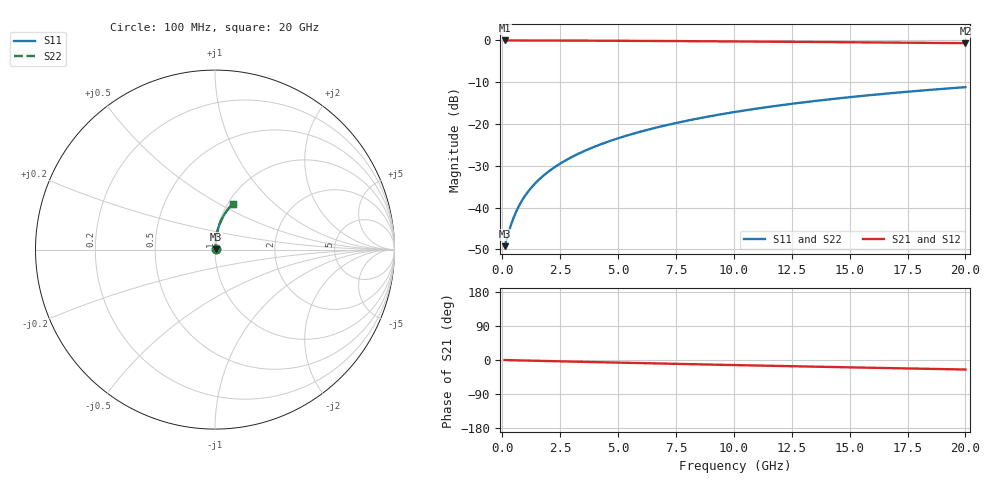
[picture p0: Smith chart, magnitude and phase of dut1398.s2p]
! Touchstone file exported from HFSS 2024.1.0
!  File:  C:/UserFiles/LocalFiles/RDL_TSV_Batchsim/temp_RDL_top_1398_1780368013.aedt
!  Generated:  10:42:26 AM Jun  2, 2026
!  Design:  RDL_top
!  Project:  temp_RDL_top_1398_1780368013
!  Setup:  Setup1
!  Solution:  Sweep
! Variables:
!  dtsv = 10.80580581um
!  hbump = 3um
!  htsv = 84.27um
!  ldown = 100um
!  lrdl = 319.88um
!  p = 40
!  p1 = 43um
!  rhole = 1um
!  t = 450um
!  tdown = 3.915915916um
!  trdl = 2.28um
!  wdown = 15.38538539um
!  wrdl = 17.43um
# GHz S MA R 50.000000
! Terminal data exported
! Port[1] = Box2_T1
! Port[2] = Box2_T2
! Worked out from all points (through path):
!   200 points, 100 MHz to 20 GHz, reference 50 ohm
!   highest |S21| = -0.03 dB at 100 MHz (marker M1); lowest = -0.7 dB at 20 GHz (marker M2)
!   group delay of S21, straight-line fit = 3.48 ps
!   lowest |S11| = -49.2 dB at 100 MHz (marker M3), VSWR 1.01, Z = 50.3 + j0.144 ohm
!   |S11| at or under -10 dB: start of sweep to end of sweep
!   |S22| runs from -49.2 to -11.2 dB; largest |S21 - S12| = 2.6e-15
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0.1  0.003452 24.5  0.9969 -0.1  0.9969 -0.1  0.003452 24.5
! Gamma 0 0 0 0
! Port Impedance 50 0 50 0
0.3  0.005332 52.2  0.9967 -0.4  0.9967 -0.4  0.005333 52.2
0.4  0.006492 59.1  0.9966 -0.6  0.9966 -0.6  0.006493 59.1
0.6  0.00895 67.2  0.9964 -0.9  0.9964 -0.9  0.008951 67.2
0.7  0.01021 69.7  0.9963 -1.0  0.9963 -1.0  0.01021 69.7
0.9  0.01276 73.3  0.996 -1.3  0.996 -1.3  0.01276 73.3
1.2  0.01662 76.6  0.9957 -1.7  0.9957 -1.7  0.01662 76.6
1.4  0.0192 78.0  0.9955 -2.0  0.9955 -2.0  0.0192 78.0
1.7  0.02309 79.6  0.9951 -2.4  0.9951 -2.4  0.02309 79.6
2.2  0.02961 81.3  0.9944 -3.1  0.9944 -3.1  0.02961 81.3
2.8  0.03753 82.5  0.9934 -3.9  0.9934 -3.9  0.03753 82.5
3.5  0.04688 83.2  0.9919 -4.9  0.9919 -4.9  0.04688 83.2
4.2  0.05637 83.5  0.9903 -5.9  0.9903 -5.9  0.05637 83.5
5  0.06737 83.6  0.9881 -6.9  0.9881 -6.9  0.06737 83.6
5.9  0.07991 83.3  0.9854 -8.1  0.9854 -8.1  0.07992 83.3
6.8  0.09261 82.9  0.9824 -9.3  0.9824 -9.3  0.09261 82.9
8.4  0.1154 81.7  0.9766 -11.4  0.9766 -11.4  0.1154 81.7
10.1  0.1398 80.1  0.97 -13.5  0.97 -13.5  0.1398 80.1
11.7  0.1627 78.3  0.9634 -15.5  0.9634 -15.5  0.1627 78.4
13.4  0.1868 76.4  0.9561 -17.5  0.9561 -17.5  0.1868 76.4
16.7  0.2322 72.5  0.9412 -21.4  0.9412 -21.4  0.2322 72.5
20  0.2754 68.7  0.9256 -25.1  0.9256 -25.1  0.2754 68.7
